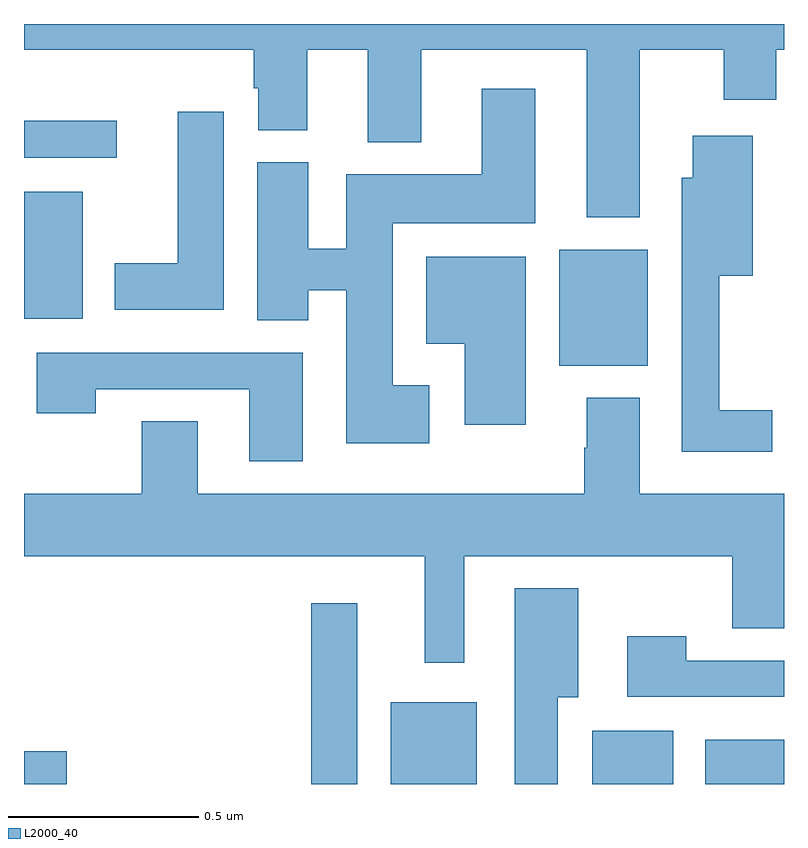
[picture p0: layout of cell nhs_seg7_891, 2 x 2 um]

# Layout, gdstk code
import gdstk
lib = gdstk.Library(unit=1e-6, precision=1e-09)
def R(c, l, rs):  # rectangles x0, y0, x1, y1
    for r in rs: c.add(gdstk.rectangle(r[:2], r[2:], *l))
def P(c, l, *ps):  # polygons
    for p in ps: c.add(gdstk.Polygon(p, *l))
L2000_40 = (2000, 40)

nhs_seg7_891 = lib.new_cell('nhs_seg7_891')
R(nhs_seg7_891, L2000_40, [(123,1016,123.113,1016.086), (123.756,1016,123.877,1016.476), (123.965,1016,124.192,1016.215), (124.496,1016,124.708,1016.14), (124.793,1016,125,1016.116), (124.409,1017.101,124.642,1017.406), (123,1017.224,123.154,1017.559), (123,1017.648,123.244,1017.746)])
P(nhs_seg7_891, L2000_40, [(124.621,1017.932),(124.841,1017.932),(124.841,1017.801),(124.98,1017.801),(124.98,1017.932),(125,1017.932),(125,1018),(123,1018),(123,1017.932),(123.605,1017.932),(123.605,1017.831),(123.617,1017.831),(123.617,1017.721),(123.745,1017.721),(123.745,1017.932),(123.905,1017.932),(123.905,1017.689),(124.045,1017.689),(124.045,1017.932),(124.481,1017.932),(124.481,1017.491),(124.621,1017.491)],
  [(124.066,1017.049),(123.97,1017.049),(123.97,1017.476),(124.345,1017.476),(124.345,1017.829),(124.205,1017.829),(124.205,1017.604),(123.848,1017.604),(123.848,1017.409),(123.748,1017.409),(123.748,1017.636),(123.614,1017.636),(123.614,1017.22),(123.748,1017.22),(123.748,1017.299),(123.848,1017.299),(123.848,1016.897),(124.066,1016.897)],
  [(123.526,1017.769),(123.404,1017.769),(123.404,1017.37),(123.239,1017.37),(123.239,1017.248),(123.526,1017.248)],
  [(124.969,1016.983),(124.829,1016.983),(124.829,1017.338),(124.918,1017.338),(124.918,1017.706),(124.76,1017.706),(124.76,1017.595),(124.731,1017.595),(124.731,1016.874),(124.969,1016.874)],
  [(124.321,1017.388),(124.058,1017.388),(124.058,1017.158),(124.16,1017.158),(124.16,1016.946),(124.321,1016.946)],
  [(123.733,1017.135),(123.033,1017.135),(123.033,1016.976),(123.189,1016.976),(123.189,1017.039),(123.593,1017.039),(123.593,1016.85),(123.733,1016.85)],
  [(124.159,1016.6),(124.864,1016.6),(124.864,1016.41),(125,1016.41),(125,1016.764),(124.621,1016.764),(124.621,1017.016),(124.481,1017.016),(124.481,1016.885),(124.474,1016.885),(124.474,1016.764),(123.457,1016.764),(123.457,1016.954),(123.31,1016.954),(123.31,1016.764),(123,1016.764),(123,1016.6),(124.055,1016.6),(124.055,1016.319),(124.159,1016.319)],
  [(124.405,1016.228),(124.459,1016.228),(124.459,1016.515),(124.292,1016.515),(124.292,1016),(124.405,1016)],
  [(125,1016.325),(124.743,1016.325),(124.743,1016.389),(124.587,1016.389),(124.587,1016.229),(125,1016.229)])

lib.write_gds('nhs_seg7_891.gds')
